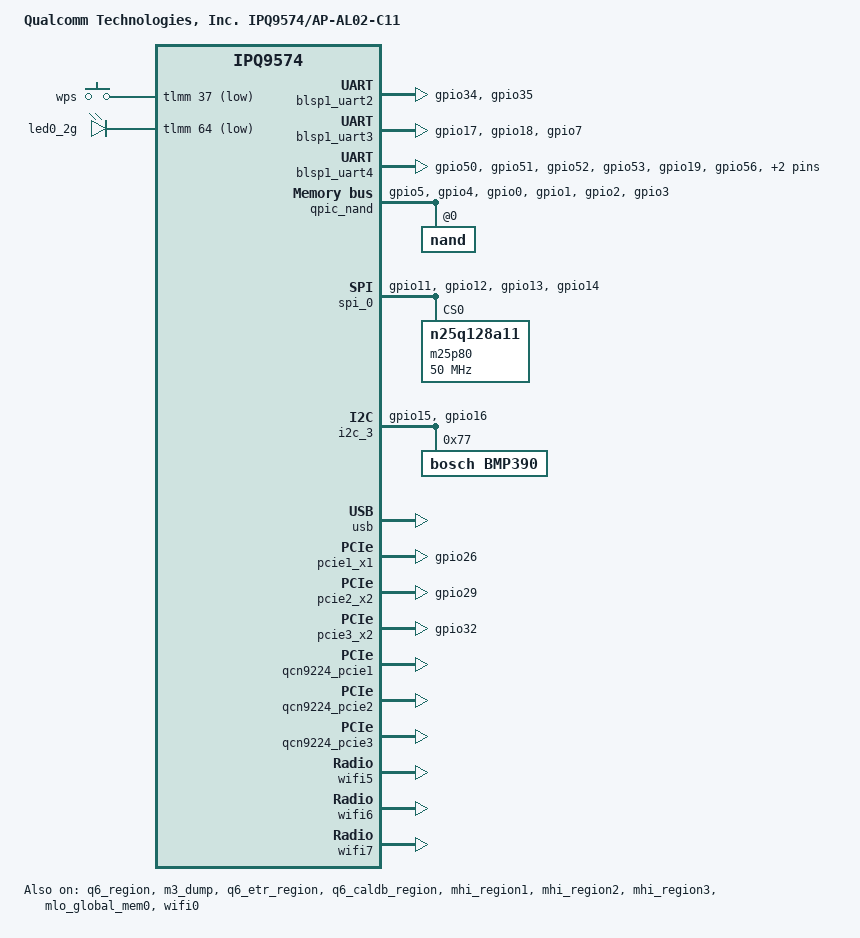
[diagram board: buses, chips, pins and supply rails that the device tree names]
// SPDX-License-Identifier: (GPL-2.0+ OR BSD-3-Clause)
/*
 * IPQ9574 AL02-C11 board device tree source
 *
 * Copyright (c) 2020-2021 The Linux Foundation. All rights reserved.
 * Copyright (c) 2021-2023 Qualcomm Innovation Center, Inc. All rights reserved.
 */

/dts-v1/;

#include "ipq9574-al02-c6.dts"

/ {
	#address-cells = <0x2>;
	#size-cells = <0x2>;
	model = "Qualcomm Technologies, Inc. IPQ9574/AP-AL02-C11";
	compatible = "qcom,ipq9574-ap-al02-c11", "qcom,ipq9574-al02", "qcom,ipq9574";
	interrupt-parent = <&intc>;

	aliases {
		serial0 = &blsp1_uart2;
		serial1 = &blsp1_uart4;
		serial2 = &blsp1_uart3;
	};

	chosen {
		stdout-path = "serial0";
	};

	soc {
		pinctrl@1000000 {
			pci0_pin: pci0-pinmux {
				pins = "gpio23";
				function = "gpio";
				drive-strength = <8>;
				bias-pull-up;
				output-low;
			};

			pci1_pin: pci1-pinmux {
				pins = "gpio26";
				function = "gpio";
				drive-strength = <8>;
				bias-pull-down;
				output-low;
			};

			pci2_pin: pci2-pinmux {
				pins = "gpio29";
				function = "gpio";
				drive-strength = <8>;
				bias-pull-down;
				output-low;
			};

			pci3_pin: pci3-pinmux {
				pins = "gpio32";
				function = "gpio";
				drive-strength = <8>;
				bias-pull-up;
				output-low;
			};

			blsp1_uart2_pins: blsp1_uart2_pinmux {
				pins = "gpio34", "gpio35";
				function = "blsp2_uart";
				drive-strength = <8>;
				bias-disable;
			};

			gps_pins: gps_pins {
				blsp3_uart_pinmux {
					pins = "gpio17", "gpio18";
					function = "blsp3_uart";
					drive-strength = <8>;
					bias-disable;
				 };

				gps_on_off {
					pins = "gpio7";
					function = "gpio";
					drive-strength = <8>;
					bias-pull-down;
				 };
			 };

			leds_pins: leds_pinmux {
				led0_2g {
					pins = "gpio64";
					function = "gpio";
					drive-strength = <8>;
					bias-pull-up;
				};
			};

			qspi_nand_pins: qspi_nand_pins {
				qspi_clock {
					pins = "gpio5";
					function = "qspi_clk";
					drive-strength = <8>;
					bias-disable;
				};

				qspi_cs {
					pins = "gpio4";
					function = "qspi_cs";
					drive-strength = <8>;
					bias-disable;
				};

				qspi_data {
					pins = "gpio0", "gpio1", "gpio2", "gpio3";
					function = "qspi_data";
					drive-strength = <8>;
					bias-disable;
				};
			};

			spi_0_pins: spi-0-pins {
				pins = "gpio11", "gpio12", "gpio13", "gpio14";
				function = "blsp0_spi";
				drive-strength = <8>;
				bias-disable;
			};

			i2c_3_pins: i2c-3-pins {
				pins = "gpio15", "gpio16";
				function = "blsp3_i2c";
				drive-strength = <8>;
				bias-disable;
			};

			mdio_pins: mdio_pinmux {
				mux_0 {
					pins = "gpio38";
					function = "mdc";
					drive-strength = <8>;
					bias-disable;
				};
				mux_1 {
					pins = "gpio39";
					function = "mdio";
					drive-strength = <8>;
					bias-pull-up;
				};
			};

			button_pins: button_pins {
				wps_button {
					pins = "gpio37";
					function = "gpio";
					drive-strength = <8>;
					bias-pull-up;
				};
			};

			QCC710_pins: QCC710_pins {
				blsp1_uart4_pinmux {
					pins = "gpio50", "gpio51", "gpio52", "gpio53";
					function = "blsp4_uart";
					drive-strength = <8>;
					bias-disable;
				};
				QCC710_reset {
					pins = "gpio19";
					function = "gpio";
					drive-strength = <8>;
					bias-pull-down;
				};
			};

			pta_QCC710: pta_QCC710 {
				pta1_0 {
					pins = "gpio56";
					function = "pta1_0";
					drive-strength = <8>;
					bias-disable;
				};
				pta1_1 {
					pins = "gpio54";
					function = "pta1_1";
					drive-strength = <8>;
					bias-disable;
				};
				pta1_2 {
					pins = "gpio55";
					function = "pta1_2";
					drive-strength = <8>;
					bias-disable;
				};
			};
		};

		blsp1_uart2: serial@78b1000 {
			pinctrl-0 = <&blsp1_uart2_pins>;
			pinctrl-names = "default";
			status = "ok";
		};

		blsp1_uart3: serial@78b2000 {
			pinctrl-0 = <&gps_pins>;
			pinctrl-names = "default";
			status = "ok";
		 };

		blsp1_uart4: serial@78b3000 {
			pinctrl-0 = <&QCC710_pins &pta_QCC710>;
			pinctrl-names = "default";
			status = "ok";
		};

		gpio_keys {
			compatible = "gpio-keys";
			pinctrl-0 = <&button_pins>;
			pinctrl-names = "default";
			status = "ok";

			button@1 {
				label = "wps";
				linux,code = <KEY_WPS_BUTTON>;
				gpios = <&tlmm 37 GPIO_ACTIVE_LOW>;
				linux,input-type = <1>;
				debounce-interval = <60>;
			};
		};

		qpic_bam: dma@7984000 {
			status = "ok";
		};

		qpic_nand: nand@79b0000 {
			status = "ok";
			pinctrl-0 = <&qspi_nand_pins>;
			pinctrl-names = "default";

			nand@0 {
				reg = <0>;
				#address-cells = <1>;
				#size-cells = <1>;

				nand-ecc-strength = <4>;
				nand-ecc-step-size = <512>;
				nand-bus-width = <8>;
			};
		};

		spi_0: spi@78b5000 { /* BLSP1 QUP0 */
			status = "ok";
			pinctrl-0 = <&spi_0_pins>;
			pinctrl-names = "default";
			cs-select = <0>;

			m25p80@0 {
				compatible = "n25q128a11";
				#address-cells = <1>;
				#size-cells = <1>;
				reg = <0>;
				spi-max-frequency = <50000000>;
			};
		};

		eud: qcom,msm-eud {
			status = "ok";
		};

		i2c_3: i2c@78b8000 {
			status = "ok";
			pinctrl-0 = <&i2c_3_pins>;
			pinctrl-names = "default";

			bmp390@77 {
				compatible = "bosch,bmp390";
				reg = <0x77>;
			};
		};

		usb: usb3@8A00000 {
			status = "ok";
		};

		qusb_phy_0: qusb@7B000 {
			status = "ok";
		};

		ssphy_0: ssphy@7D000 {
			status = "ok";
		};

		leds {
			compatible = "gpio-leds";
			pinctrl-0 = <&leds_pins>;
			pinctrl-names = "default";
			led@64 {
				label = "led0_2g";
				gpios = <&tlmm 64 GPIO_ACTIVE_LOW>;
				linux,default-trigger = "led_2g";
				default-state = "off";
			};
		};

		pcie0_x1: pci@28000000 {
			pinctrl-0 = <&pci0_pin>;
			pinctrl-names = "default";
			perst-gpio = <&tlmm 23 1>;
			max-payload-size = <1>; // 1-256 TLP bytes for WKK
			status = "disabled";
			pcie0_rp {
				reg = <0 0 0 0 0>;
			};
		};

		pcie0_phy: phy@84000 {
			status = "disabled";
		};

		pcie1_x1: pci@10000000 {
			pinctrl-0 = <&pcie1_wake_pins &pci1_pin>;
			pinctrl-names = "default";
			interrupts-extended = <&tlmm 27 IRQ_TYPE_LEVEL_HIGH>,
					      <&intc GIC_SPI 25 IRQ_TYPE_LEVEL_HIGH>;
			interrupt-names = "wake_gpio", "global_irq";
			perst-gpio = <&tlmm 26 1>;
			max-payload-size = <1>; // 1-256 TLP bytes for WKK
			status = "ok";
			pcie1_rp {
				reg = <0 0 0 0 0>;

				wifi@1 {
					reg = <0 0 0 0 0>;

					qti,disable-rddm-prealloc;
					qti,rddm-seg-len = <0x1000>;
					boot-args = <0x2 0x4 0x34 0x3 0x0 0x0     /* MX Rail, GPIO52, Drive strength 0x3 */
							0x4 0x4 0x18 0x3 0x0 0x0  /* RFA1p2 Rail, GPIO24, Drive strength 0x3 */
							0x0 0x4 0x0 0x0 0x0 0x0>; /* End of arguments */
					license-file = "";
#if defined(__CNSS2__)
					qrtr_node_id = <0x31>;
					memory-region = <0>,<&mhi_region1>;
#else
				       /* qcn9224 tgt-mem-mode=0 layout - 46MB
					* refer ipq9574-wkk-default-memory.dtsi
					* +=========+==============+=========+
					* |  Region | Start Offset |   Size  |
					* +---------+--------------+---------+
					* | HREMOTE |  0x52500000  |   36MB  |
					* +---------+--------------+---------+
					* | M3 Dump |  0x54900000  |   1MB   |
					* +---------+--------------+---------+
					* |   ETR   |  0x54A00000  |   1MB   |
					* +---------+--------------+---------+
					* |  Caldb  |  0x54B00000  |   8MB   |
					* +==================================+
					*/
					memory-region = <&qcn9224_pcie1>;
					qcom,board_id = <0x01>;
#endif
				};
			};
		};

		pcie1_phy: phy@fc000 {
			status = "ok";
		};

		pcie2_x2: pci@20000000 {
			pinctrl-0 = <&pcie2_wake_pins &pci2_pin>;
			pinctrl-names = "default";
			interrupts-extended = <&tlmm 30 IRQ_TYPE_LEVEL_HIGH>,
					      <&intc GIC_SPI 125 IRQ_TYPE_LEVEL_HIGH>;
			interrupt-names = "wake_gpio", "global_irq";
			perst-gpio = <&tlmm 29 1>;
			max-payload-size = <1>; // 1-256 TLP bytes for WKK
			status = "ok";
			pcie2_rp {
				reg = <0 0 0 0 0>;

				wifi@2 {
					reg = <0 0 0 0 0>;

					qti,disable-rddm-prealloc;
					qti,rddm-seg-len = <0x1000>;
					boot-args = <0x2 0x4 0x34 0x3 0x0 0x0     /* MX Rail, GPIO52, Drive strength 0x3 */
							0x4 0x4 0x18 0x3 0x0 0x0  /* RFA1p2 Rail, GPIO24, Drive strength 0x3 */
							0x0 0x4 0x0 0x0 0x0 0x0>; /* End of arguments */
					license-file = "";
#if defined(__CNSS2__)
					qrtr_node_id = <0x32>;
					memory-region = <0>,<&mhi_region2>;
#else
					/* qcn9224 tgt-mem-mode=0 layout - 46MB
					* refer ipq9574-wkk-default-memory.dtsi
					* +=========+==============+=========+
					* |  Region | Start Offset |   Size  |
					* +---------+--------------+---------+
					* | HREMOTE |  0x56D00000  |   36MB  |
					* +---------+--------------+---------+
					* | M3 Dump |  0x59100000  |   1MB   |
					* +---------+--------------+---------+
					* |   ETR   |  0x59200000  |   1MB   |
					* +---------+--------------+---------+
					* |  Caldb  |  0x59300000  |   8MB   |
					* +==================================+
					*/
					memory-region = <&qcn9224_pcie2>;
					qcom,board_id = <0x04>;
#endif
				};
			};
		};

		pcie2_phy: phy@8c000 {
			status = "ok";
		};

		pcie3_x2: pci@18000000 {
			pinctrl-0 = <&pcie3_wake_pins &pci3_pin>;
			pinctrl-names = "default";
			interrupts-extended = <&tlmm 33 IRQ_TYPE_LEVEL_HIGH>,
					      <&intc GIC_SPI 188 IRQ_TYPE_LEVEL_HIGH>;
			interrupt-names = "wake_gpio", "global_irq";
			perst-gpio = <&tlmm 32 1>;
			max-payload-size = <1>; // 1-256 TLP bytes for WKK
			status = "ok";
			pcie3_rp {
				reg = <0 0 0 0 0>;

				wifi@3 {
					reg = <0 0 0 0 0>;

					qti,disable-rddm-prealloc;
					qti,rddm-seg-len = <0x1000>;
					boot-args = <0x2 0x4 0x34 0x3 0x0 0x0     /* MX Rail, GPIO52, Drive strength 0x3 */
							0x4 0x4 0x18 0x3 0x0 0x0  /* RFA1p2 Rail, GPIO24, Drive strength 0x3 */
							0x0 0x4 0x0 0x0 0x0 0x0>; /* End of arguments */
					license-file = "";
#if defined(__CNSS2__)
					qrtr_node_id = <0x33>;
					memory-region = <0>,<&mhi_region3>;
#else
					/* qcn9224 tgt-mem-mode=0 layout - 46MB
					 * refer ipq9574-wkk-default-memory.dtsi
					 * +=========+==============+=========+
					 * |  Region | Start Offset |   Size  |
					 * +---------+--------------+---------+
					 * | HREMOTE |  0x5B500000  |   36MB  |
					 * +---------+--------------+---------+
					 * | M3 Dump |  0x5D900000  |   1MB   |
					 * +---------+--------------+---------+
					 * |   ETR   |  0x5DA00000  |   1MB   |
					 * +---------+--------------+---------+
					 * |  Caldb  |  0x5DB00000  |   8MB   |
					 * +==================================+
					 */
					memory-region = <&qcn9224_pcie3>;
					qcom,board_id = <0x02>;
#endif
				};
			};
		};

		pcie3_phy: phy@f4000 {
			status = "ok";
		};

		qcom,test@0 {
			qcom,wlan-ramdump-dynamic = <0x600000>;
		};
	};
};

/* Enable IPQ9574 integrated radio's reserved memory */
&q6_region {
	status = "ok";
};

&m3_dump {
	status = "ok";
};

&q6_etr_region {
	status = "ok";
};

&q6_caldb_region {
	status = "ok";
};

/* Enable the reserved memory regions of QCN9224 on PCIe1, PCIe2, PCIe3 */

&qcn9224_pcie1 {
	status = "ok";
};

&mhi_region1 {
	status = "ok";
};

&qcn9224_pcie2 {
	status = "ok";
};

&mhi_region2 {
	status = "ok";
};

&qcn9224_pcie3 {
	status = "ok";
};

&mhi_region3 {
	status = "ok";
};

/* MLO GLOBAL MEM REGION size is 24MB for RDP with 4 QCN9224 radios */
&mlo_global_mem0 {
	size = <0x0 0x1800000>;
	status = "ok";
};

&wifi0 {
       led-gpio = <&tlmm 64 1>;
       status = "ok";
};

&wifi5 {
	hremote_node = <&qcn9224_pcie1>;
	board_id = <0x01>;
	hw_link_id = <0 0>;
	status = "ok";
};

&wifi6 {
	hremote_node = <&qcn9224_pcie2>;
	board_id = <0x04>;
	hw_link_id = <1 0>;
	status = "ok";
};

&wifi7 {
	hremote_node = <&qcn9224_pcie3>;
	board_id = <0x02>;
	hw_link_id = <2 0>;
	status = "ok";
};
